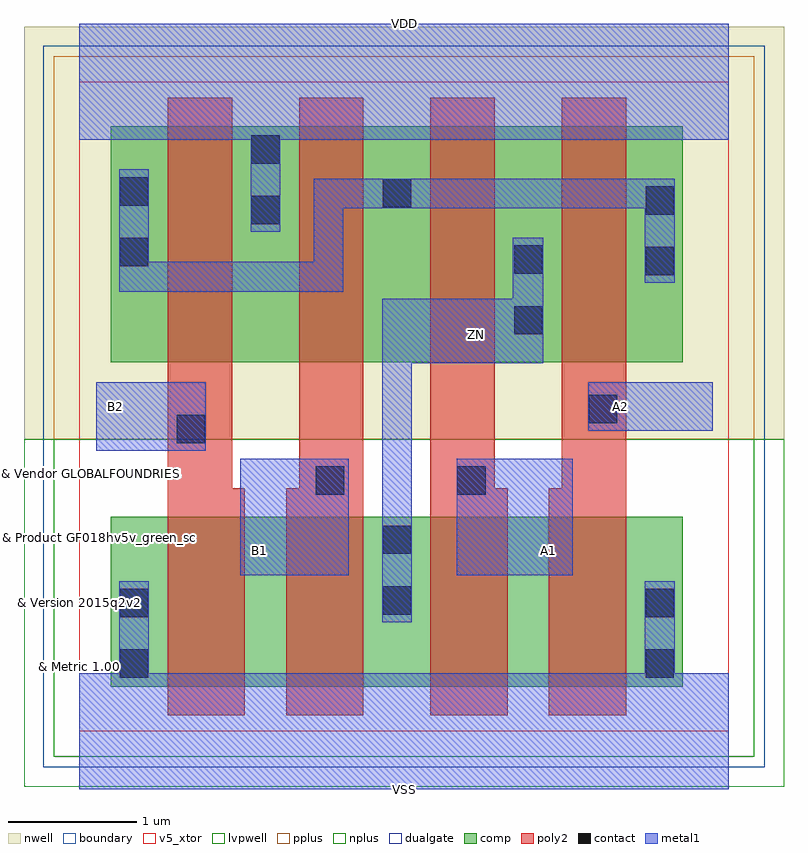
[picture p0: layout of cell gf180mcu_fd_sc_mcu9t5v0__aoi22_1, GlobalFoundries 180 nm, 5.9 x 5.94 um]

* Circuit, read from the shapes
.subckt gf180mcu_fd_sc_mcu9t5v0__aoi22_1 A1 A2 B1 B2 VDD VSS ZN
XM1 n1 B2 VSS VSUBS nfet_05v0 w=1.32u l=0.6u
XM2 ZN B1 n1 VSUBS nfet_05v0 w=1.32u l=0.6u
XM3 n2 A1 ZN VSUBS nfet_05v0 w=1.32u l=0.6u
XM4 VSS A2 n2 VSUBS nfet_05v0 w=1.32u l=0.6u
XM5 VDD B2 n3 n4 pfet_05v0 w=1.83u l=0.5u
XM6 n3 B1 VDD n4 pfet_05v0 w=1.83u l=0.5u
XM7 ZN A1 n3 n4 pfet_05v0 w=1.83u l=0.5u
XM8 n3 A2 ZN n4 pfet_05v0 w=1.83u l=0.5u
.ends

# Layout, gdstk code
import gdstk
lib = gdstk.Library(unit=1e-6, precision=1e-09)
def R(c, l, rs):  # rectangles x0, y0, x1, y1
    for r in rs: c.add(gdstk.rectangle(r[:2], r[2:], *l))
def P(c, l, *ps):  # polygons
    for p in ps: c.add(gdstk.Polygon(p, *l))
boundary = (0, 0)
nwell = (21, 0)
comp = (22, 0)
poly2 = (30, 0)
pplus = (31, 0)
nplus = (32, 0)
contact = (33, 0)
metal1 = (34, 0)
dualgate = (55, 0)
v5_xtor = (112, 1)
lvpwell = (204, 0)

gf180mcu_fd_sc_mcu9t5v0_ = lib.new_cell('gf180mcu_fd_sc_mcu9t5v0__aoi22_1')
R(gf180mcu_fd_sc_mcu9t5v0_, boundary, [(0,0,5.04,5.04)])
R(gf180mcu_fd_sc_mcu9t5v0_, nwell, [(-0.43,2.265,5.47,5.47)])
R(gf180mcu_fd_sc_mcu9t5v0_, comp, [(0.245,0.345,4.685,1.665), (0.245,2.865,4.685,4.695)])
P(gf180mcu_fd_sc_mcu9t5v0_, poly2, [(0.685,0.125),(0.685,4.915),(1.185,4.915),(1.185,1.885),(1.285,1.885),(1.285,0.125)],
  [(1.605,0.125),(1.605,1.885),(1.705,1.885),(1.705,4.915),(2.205,4.915),(2.205,0.125)],
  [(2.725,0.125),(2.725,4.915),(3.225,4.915),(3.225,1.885),(3.325,1.885),(3.325,0.125)],
  [(3.645,0.125),(3.645,1.885),(3.745,1.885),(3.745,4.915),(4.245,4.915),(4.245,0.125)])
R(gf180mcu_fd_sc_mcu9t5v0_, pplus, [(-0.2,2.265,5.24,5.24)])
R(gf180mcu_fd_sc_mcu9t5v0_, nplus, [(-0.2,-0.2,5.24,2.265)])
R(gf180mcu_fd_sc_mcu9t5v0_, contact, [(0.315,0.415,0.535,0.635), (4.395,0.415,4.615,0.635), (0.315,0.885,0.535,1.105), (4.395,0.885,4.615,1.105), (2.355,0.905,2.575,1.125), (2.355,1.375,2.575,1.595), (1.835,1.835,2.055,2.055), (2.935,1.835,3.155,2.055), (0.755,2.235,0.975,2.455), (3.955,2.39,4.175,2.61), (3.375,3.08,3.595,3.3), (4.395,3.54,4.615,3.76), (3.375,3.55,3.595,3.77), (0.315,3.61,0.535,3.83), (1.335,3.935,1.555,4.155), (4.395,4.01,4.615,4.23), (2.355,4.065,2.575,4.285), (0.315,4.08,0.535,4.3), (1.335,4.405,1.555,4.625)])
R(gf180mcu_fd_sc_mcu9t5v0_, metal1, [(1.25,1.21,2.09,2.115), (2.93,1.21,3.83,2.115), (0.13,2.175,0.98,2.71), (3.95,2.33,4.915,2.71)])
P(gf180mcu_fd_sc_mcu9t5v0_, metal1, [(2.35,0.845),(2.35,3.355),(3.365,3.355),(3.365,3.83),(3.6,3.83),(3.6,2.855),(2.58,2.855),(2.58,0.845)],
  [(0.31,3.41),(0.31,4.36),(0.54,4.36),(0.54,3.645),(1.82,3.645),(1.82,4.29),(4.62,4.29),(4.62,3.48),(4.39,3.48),(4.39,4.06),(2.05,4.06),(2.05,3.41)],
  [(0,-0.45),(0,0.45),(0.31,0.45),(0.31,1.165),(0.54,1.165),(0.54,0.45),(4.39,0.45),(4.39,1.165),(4.62,1.165),(4.62,0.45),(5.04,0.45),(5.04,-0.45)],
  [(1.33,3.875),(1.33,4.59),(0,4.59),(0,5.49),(5.04,5.49),(5.04,4.59),(1.56,4.59),(1.56,3.875)])
R(gf180mcu_fd_sc_mcu9t5v0_, dualgate, [(-0.28,-0.28,5.32,5.32)])
R(gf180mcu_fd_sc_mcu9t5v0_, v5_xtor, [(0,0,5.04,5.04)])
R(gf180mcu_fd_sc_mcu9t5v0_, lvpwell, [(-0.43,-0.43,5.47,2.265)])
gf180mcu_fd_sc_mcu9t5v0_.add(gdstk.Label('A1', (3.64,1.4), layer=34, texttype=10))
gf180mcu_fd_sc_mcu9t5v0_.add(gdstk.Label('A2', (4.2,2.52), layer=34, texttype=10))
gf180mcu_fd_sc_mcu9t5v0_.add(gdstk.Label('B1', (1.4,1.4), layer=34, texttype=10))
gf180mcu_fd_sc_mcu9t5v0_.add(gdstk.Label('B2', (0.28,2.52), layer=34, texttype=10))
gf180mcu_fd_sc_mcu9t5v0_.add(gdstk.Label('VDD', (2.52,5.49), layer=34, texttype=10))
gf180mcu_fd_sc_mcu9t5v0_.add(gdstk.Label('VSS', (2.52,-0.45), layer=34, texttype=10))
gf180mcu_fd_sc_mcu9t5v0_.add(gdstk.Label('ZN', (3.08,3.08), layer=34, texttype=10))
gf180mcu_fd_sc_mcu9t5v0_.add(gdstk.Label('& Vendor GLOBALFOUNDRIES', (0,2), layer=63, texttype=63))
gf180mcu_fd_sc_mcu9t5v0_.add(gdstk.Label('& Product GF018hv5v_green_sc9', (0,1.5), layer=63, texttype=63))
gf180mcu_fd_sc_mcu9t5v0_.add(gdstk.Label('& Version 2015q2v2', (0,1), layer=63, texttype=63))
gf180mcu_fd_sc_mcu9t5v0_.add(gdstk.Label('& Metric 1.00', (0,0.5), layer=63, texttype=63))

lib.write_gds('gf180mcu_fd_sc_mcu9t5v0__aoi22_1.gds')
